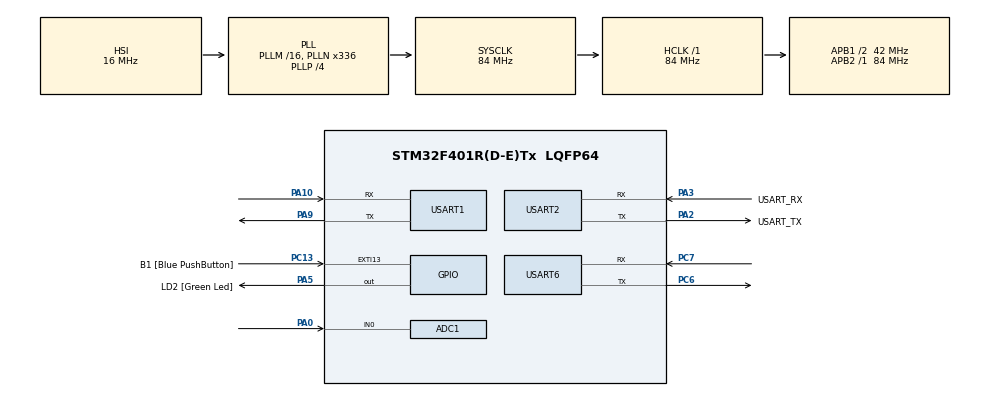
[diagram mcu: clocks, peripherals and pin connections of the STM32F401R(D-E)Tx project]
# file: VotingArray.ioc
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ADC1.Channel-4\#ChannelRegularConversion=ADC_CHANNEL_0
ADC1.NbrOfConversionFlag=1
ADC1.Rank-4\#ChannelRegularConversion=1
ADC1.SamplingTime-4\#ChannelRegularConversion=ADC_SAMPLETIME_3CYCLES
ADC1.master=1
Mcu.Family=STM32F4
Mcu.Name=STM32F401R(D-E)Tx
Mcu.Package=LQFP64
NVIC.PriorityGroup=NVIC_PRIORITYGROUP_0
PA0-WKUP.Signal=ADCx_IN0
PA10.Mode=Asynchronous
PA10.Signal=USART1_RX
PA13.GPIO_Label=TMS
PA13.Signal=SYS_JTMS-SWDIO
PA14.GPIO_Label=TCK
PA14.Signal=SYS_JTCK-SWCLK
PA2.GPIO_Label=USART_TX
PA2.GPIO_Mode=GPIO_MODE_AF_PP
PA2.GPIO_PuPd=GPIO_NOPULL
PA2.GPIO_Speed=GPIO_SPEED_FREQ_LOW
PA2.Mode=Asynchronous
PA2.Signal=USART2_TX
PA3.GPIO_Label=USART_RX
PA3.GPIO_Mode=GPIO_MODE_AF_PP
PA3.GPIO_PuPd=GPIO_NOPULL
PA3.GPIO_Speed=GPIO_SPEED_FREQ_LOW
PA3.Mode=Asynchronous
PA3.Signal=USART2_RX
PA5.GPIO_Label=LD2 [Green Led]
PA5.GPIO_Mode=GPIO_MODE_OUTPUT_PP
PA5.GPIO_PuPd=GPIO_NOPULL
PA5.GPIO_Speed=GPIO_SPEED_FREQ_LOW
PA5.Signal=GPIO_Output
PA9.Mode=Asynchronous
PA9.Signal=USART1_TX
PB3.GPIO_Label=SWO
PB3.Signal=SYS_JTDO-SWO
PC13-ANTI_TAMP.GPIO_Label=B1 [Blue PushButton]
PC13-ANTI_TAMP.GPIO_ModeDefaultEXTI=GPIO_MODE_EVT_RISING
PC13-ANTI_TAMP.GPIO_PuPd=GPIO_NOPULL
PC13-ANTI_TAMP.Signal=GPXTI13
PC14-OSC32_IN.Signal=RCC_OSC32_IN
PC15-OSC32_OUT.Signal=RCC_OSC32_OUT
PC6.Mode=Asynchronous
PC6.Signal=USART6_TX
PC7.Mode=Asynchronous
PC7.Signal=USART6_RX
PH0\ -\ OSC_IN.Signal=RCC_OSC_IN
PH1\ -\ OSC_OUT.Signal=RCC_OSC_OUT
ProjectManager.HeapSize=0x200
ProjectManager.StackSize=0x400
ProjectManager.TargetToolchain=SW4STM32
RCC.AHBFreq_Value=84000000
RCC.APB1CLKDivider=RCC_HCLK_DIV2
RCC.APB1Freq_Value=42000000
RCC.APB1TimFreq_Value=84000000
RCC.APB2Freq_Value=84000000
RCC.APB2TimFreq_Value=84000000
RCC.CortexFreq_Value=84000000
RCC.HCLKFreq_Value=84000000
RCC.HSE_VALUE=8000000
RCC.HSI_VALUE=16000000
RCC.LSE_VALUE=32768
RCC.PLLN=336
RCC.PLLP=RCC_PLLP_DIV4
RCC.PLLQ=7
RCC.SYSCLKFreq_VALUE=84000000
RCC.SYSCLKSource=RCC_SYSCLKSOURCE_PLLCLK
RCC.VCOOutputFreq_Value=336000000
SH.ADCx_IN0.0=ADC1_IN0,IN0
board=NUCLEO-F401RE

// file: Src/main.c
/**
 ******************************************************************************
 * File Name          : main.c
 * Description        : Main program body
 ******************************************************************************
 *
 * COPYRIGHT(c) 2017 STMicroelectronics
 *
 * Redistribution and use in source and binary forms, with or without modification,
 * are permitted provided that the following conditions are met:
 *   1. Redistributions of source code must retain the above copyright notice,
 *      this list of conditions and the following disclaimer.
 *   2. Redistributions in binary form must reproduce the above copyright notice,
 *      this list of conditions and the following disclaimer in the documentation
 *      and/or other materials provided with the distribution.
 *   3. Neither the name of STMicroelectronics nor the names of its contributors
 *      may be used to endorse or promote products derived from this software
 *      without specific prior written permission.
 *
 * THIS SOFTWARE IS PROVIDED BY THE COPYRIGHT HOLDERS AND CONTRIBUTORS "AS IS"
 * AND ANY EXPRESS OR IMPLIED WARRANTIES, INCLUDING, BUT NOT LIMITED TO, THE
 * IMPLIED WARRANTIES OF MERCHANTABILITY AND FITNESS FOR A PARTICULAR PURPOSE ARE
 * DISCLAIMED. IN NO EVENT SHALL THE COPYRIGHT HOLDER OR CONTRIBUTORS BE LIABLE
 * FOR ANY DIRECT, INDIRECT, INCIDENTAL, SPECIAL, EXEMPLARY, OR CONSEQUENTIAL
 * DAMAGES (INCLUDING, BUT NOT LIMITED TO, PROCUREMENT OF SUBSTITUTE GOODS OR
 * SERVICES; LOSS OF USE, DATA, OR PROFITS; OR BUSINESS INTERRUPTION) HOWEVER
 * CAUSED AND ON ANY THEORY OF LIABILITY, WHETHER IN CONTRACT, STRICT LIABILITY,
 * OR TORT (INCLUDING NEGLIGENCE OR OTHERWISE) ARISING IN ANY WAY OUT OF THE USE
 * OF THIS SOFTWARE, EVEN IF ADVISED OF THE POSSIBILITY OF SUCH DAMAGE.
 *
 ******************************************************************************
 */

/**
 *
 * A UBC Orbit team software production
 * Project: Trillium Architecture V1
 *
 * This software is protected under a Creative Commons
 * Attribution-ShareAlike 4.0 license, summarized here:
 * http://creativecommons.org/licenses/by-sa/4.0/
 *
 * Description: Software for controlling radiation redundency in the Trillium architechture.
 *        Code designed for implementation on ATmega2560 chips operating at 16MHz.
 *              Additional functionality for host to send commands to the core to enable error
 *        simulation functionality
 *        This code is to be run on all three STMs, changing the STM_ID variable
 *        per STM (1, 2, 3)
 *
 * Original Author: Divya Bhudihal, Ro-ee Tal, Chenyi Zheng
 * Date Created: 21/01/2017
 *
 */

#include "main.h"
#include "stm32f4xx_hal.h"
#include <string.h>

ADC_HandleTypeDef hadc1;

UART_HandleTypeDef huart1;
UART_HandleTypeDef huart2;
UART_HandleTypeDef huart6;

/* USER CODE BEGIN PV */
/* Private variables ---------------------------------------------------------*/
#define STM_ID 1
#define BUFFER_SIZE 8

uint8_t bufferB[8];
uint8_t bufferC[8];

struct board{
	uint8_t data[BUFFER_SIZE];
	int reset_Pin;
}STM_A, STM_B, STM_C;
/* USER CODE END PV */

void SystemClock_Config(void);
void Error_Handler(void);
static void MX_GPIO_Init(void);
static void MX_USART1_UART_Init(void);
static void MX_USART2_UART_Init(void);
static void MX_USART6_UART_Init(void);
static void MX_ADC1_Init(void);

/* USER CODE BEGIN PFP */
/* Private function prototypes -----------------------------------------------*/
static void STM_BOARD_Init(void);
void clearArray(uint8_t *buffer, int buffer_size);
void votingArray(void);
/* USER CODE END PFP */

int main(void)
{

	/* USER CODE BEGIN 1 */
	STM_BOARD_Init();
	/* USER CODE END 1 */

	/* MCU Configuration----------------------------------------------------------*/

	/* Reset of all peripherals, Initializes the Flash interface and the Systick. */
	HAL_Init();

	/* Configure the system clock */
	SystemClock_Config();

	/* Initialize all configured peripherals */
	MX_GPIO_Init();
	MX_USART1_UART_Init();
	MX_USART2_UART_Init();
	MX_USART6_UART_Init();
	MX_ADC1_Init();

	/* Infinite loop */
	while (1)
	{

		//Send and receive from B
		//	  HAL_UART_Transmit(&huart6, (uint8_t*)"B", strlen("B"), 0xFFFF);
		//	  HAL_UART_Transmit(&huart1, (uint8_t*)"C", strlen("C"), 0xFFFF);
		//	  HAL_UART_Receive(&huart6, STM_B.data, BUFFER_SIZE, 0xFFFF);
		HAL_UART_Receive(&huart1, bufferC, 8, 0xFFFF);
		clearArray(bufferC, 8);
		//	  HAL_UART_Transmit(&huart2, STM_B.data, BUFFER_SIZE, 0xFFFF);
		HAL_UART_Transmit(&huart2, bufferC, 8, 0xFFFF);
		HAL_Delay(100);
	}

}

/** System Clock Configuration
 */
void SystemClock_Config(void)
{

	RCC_OscInitTypeDef RCC_OscInitStruct;
	RCC_ClkInitTypeDef RCC_ClkInitStruct;

	/**Configure the main internal regulator output voltage
	 */
	__HAL_RCC_PWR_CLK_ENABLE();

	__HAL_PWR_VOLTAGESCALING_CONFIG(PWR_REGULATOR_VOLTAGE_SCALE2);

	/**Initializes the CPU, AHB and APB busses clocks
	 */
	RCC_OscInitStruct.OscillatorType = RCC_OSCILLATORTYPE_HSI;
	RCC_OscInitStruct.HSIState = RCC_HSI_ON;
	RCC_OscInitStruct.HSICalibrationValue = 16;
	RCC_OscInitStruct.PLL.PLLState = RCC_PLL_ON;
	RCC_OscInitStruct.PLL.PLLSource = RCC_PLLSOURCE_HSI;
	RCC_OscInitStruct.PLL.PLLM = 16;
	RCC_OscInitStruct.PLL.PLLN = 336;
	RCC_OscInitStruct.PLL.PLLP = RCC_PLLP_DIV4;
	RCC_OscInitStruct.PLL.PLLQ = 7;
	if (HAL_RCC_OscConfig(&RCC_OscInitStruct) != HAL_OK)
	{
		Error_Handler();
	}

	/**Initializes the CPU, AHB and APB busses clocks
	 */
	RCC_ClkInitStruct.ClockType = RCC_CLOCKTYPE_HCLK|RCC_CLOCKTYPE_SYSCLK
			|RCC_CLOCKTYPE_PCLK1|RCC_CLOCKTYPE_PCLK2;
	RCC_ClkInitStruct.SYSCLKSource = RCC_SYSCLKSOURCE_PLLCLK;
	RCC_ClkInitStruct.AHBCLKDivider = RCC_SYSCLK_DIV1;
	RCC_ClkInitStruct.APB1CLKDivider = RCC_HCLK_DIV2;
	RCC_ClkInitStruct.APB2CLKDivider = RCC_HCLK_DIV1;

	if (HAL_RCC_ClockConfig(&RCC_ClkInitStruct, FLASH_LATENCY_2) != HAL_OK)
	{
		Error_Handler();
	}

	/**Configure the Systick interrupt time
	 */
	HAL_SYSTICK_Config(HAL_RCC_GetHCLKFreq()/1000);

	/**Configure the Systick
	 */
	HAL_SYSTICK_CLKSourceConfig(SYSTICK_CLKSOURCE_HCLK);

	/* SysTick_IRQn interrupt configuration */
	HAL_NVIC_SetPriority(SysTick_IRQn, 0, 0);
}

/* ADC1 init function */
static void MX_ADC1_Init(void)
{

	ADC_ChannelConfTypeDef sConfig;

	/**Configure the global features of the ADC (Clock, Resolution, Data Alignment and number of conversion)
	 */
	hadc1.Instance = ADC1;
	hadc1.Init.ClockPrescaler = ADC_CLOCK_SYNC_PCLK_DIV4;
	hadc1.Init.Resolution = ADC_RESOLUTION_12B;
	hadc1.Init.ScanConvMode = DISABLE;
	hadc1.Init.ContinuousConvMode = DISABLE;
	hadc1.Init.DiscontinuousConvMode = DISABLE;
	hadc1.Init.ExternalTrigConvEdge = ADC_EXTERNALTRIGCONVEDGE_NONE;
	hadc1.Init.ExternalTrigConv = ADC_SOFTWARE_START;
	hadc1.Init.DataAlign = ADC_DATAALIGN_RIGHT;
	hadc1.Init.NbrOfConversion = 1;
	hadc1.Init.DMAContinuousRequests = DISABLE;
	hadc1.Init.EOCSelection = ADC_EOC_SINGLE_CONV;
	if (HAL_ADC_Init(&hadc1) != HAL_OK)
	{
		Error_Handler();
	}

	/**Configure for the selected ADC regular channel its corresponding rank in the sequencer and its sample time.
	 */
	sConfig.Channel = ADC_CHANNEL_0;
	sConfig.Rank = 1;
	sConfig.SamplingTime = ADC_SAMPLETIME_3CYCLES;
	if (HAL_ADC_ConfigChannel(&hadc1, &sConfig) != HAL_OK)
	{
		Error_Handler();
	}

}

/* USART1 init function */
static void MX_USART1_UART_Init(void)
{

	huart1.Instance = USART1;
	huart1.Init.BaudRate = 115200;
	huart1.Init.WordLength = UART_WORDLENGTH_8B;
	huart1.Init.StopBits = UART_STOPBITS_1;
	huart1.Init.Parity = UART_PARITY_NONE;
	huart1.Init.Mode = UART_MODE_TX_RX;
	huart1.Init.HwFlowCtl = UART_HWCONTROL_NONE;
	huart1.Init.OverSampling = UART_OVERSAMPLING_16;
	if (HAL_UART_Init(&huart1) != HAL_OK)
	{
		Error_Handler();
	}

}

/* USART2 init function */
static void MX_USART2_UART_Init(void)
{

	huart2.Instance = USART2;
	huart2.Init.BaudRate = 115200;
	huart2.Init.WordLength = UART_WORDLENGTH_8B;
	huart2.Init.StopBits = UART_STOPBITS_1;
	huart2.Init.Parity = UART_PARITY_NONE;
	huart2.Init.Mode = UART_MODE_TX_RX;
	huart2.Init.HwFlowCtl = UART_HWCONTROL_NONE;
	huart2.Init.OverSampling = UART_OVERSAMPLING_16;
	if (HAL_UART_Init(&huart2) != HAL_OK)
	{
		Error_Handler();
	}

}

/* USART6 init function */
static void MX_USART6_UART_Init(void)
{

	huart6.Instance = USART6;
	huart6.Init.BaudRate = 115200;
	huart6.Init.WordLength = UART_WORDLENGTH_8B;
	huart6.Init.StopBits = UART_STOPBITS_1;
	huart6.Init.Parity = UART_PARITY_NONE;
	huart6.Init.Mode = UART_MODE_TX_RX;
	huart6.Init.HwFlowCtl = UART_HWCONTROL_NONE;
	huart6.Init.OverSampling = UART_OVERSAMPLING_16;
	if (HAL_UART_Init(&huart6) != HAL_OK)
	{
		Error_Handler();
	}

}

/** Configure pins as
 * Analog
 * Input
 * Output
 * EVENT_OUT
 * EXTI
 */
static void MX_GPIO_Init(void)
{

	GPIO_InitTypeDef GPIO_InitStruct;

	/* GPIO Ports Clock Enable */
	__HAL_RCC_GPIOC_CLK_ENABLE();
	__HAL_RCC_GPIOH_CLK_ENABLE();
	__HAL_RCC_GPIOA_CLK_ENABLE();
	__HAL_RCC_GPIOB_CLK_ENABLE();

	/*Configure GPIO pin : B1_Pin */
	GPIO_InitStruct.Pin = B1_Pin;
	GPIO_InitStruct.Mode = GPIO_MODE_EVT_RISING;
	GPIO_InitStruct.Pull = GPIO_NOPULL;
	HAL_GPIO_Init(B1_GPIO_Port, &GPIO_InitStruct);

	/*Configure GPIO pin : LD2_Pin */
	GPIO_InitStruct.Pin = LD2_Pin;
	GPIO_InitStruct.Mode = GPIO_MODE_OUTPUT_PP;
	GPIO_InitStruct.Pull = GPIO_NOPULL;
	GPIO_InitStruct.Speed = GPIO_SPEED_FREQ_LOW;
	HAL_GPIO_Init(LD2_GPIO_Port, &GPIO_InitStruct);

	/*Configure GPIO pin Output Level */
	HAL_GPIO_WritePin(LD2_GPIO_Port, LD2_Pin, GPIO_PIN_RESET);

}

/* USER CODE BEGIN 4 */
static void STM_BOARD_Init(void){
	switch(STM_ID) {
		case 1  :
			//board 1
			STM_A.reset_Pin = 1;
			//board 2
			STM_B.reset_Pin = 2;
			//board 3
			STM_C.reset_Pin = 3;
			break; /* optional */
		case 2  :
			//board 2
			STM_A.reset_Pin = 2;
			//board 3
			STM_B.reset_Pin = 3;
			//board 1
			STM_C.reset_Pin = 1;
			break; /* optional */
		case 3  :
			//board 3
			STM_A.reset_Pin = 3;
			//board 1
			STM_B.reset_Pin = 1;
			//board 2
			STM_C.reset_Pin = 2;
			break; /* optional */
	}
}

void votingArray(void){
}

//ClearArray: This function writes null bytes to the buffer array passed to it
//Input: a is an array of characters (string)
//Outputs: none
void clearArray(uint8_t *buffer, int buffer_size){
	for (int i = 0; i < buffer_size; i++) {
		buffer[i] = '\0';
	}
}
/* USER CODE END 4 */

void Error_Handler(void)
{
	while(1)
	{
	}
}

/************************ (C) COPYRIGHT STMicroelectronics *****END OF FILE****/
